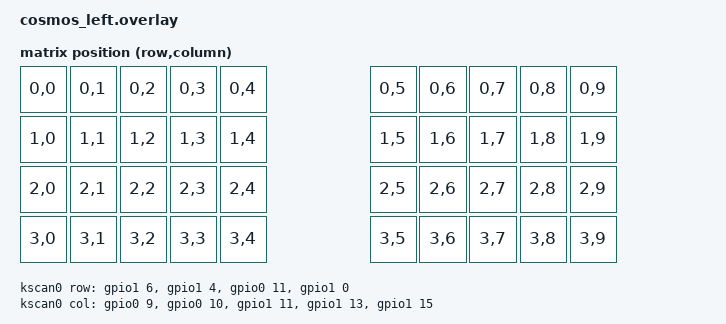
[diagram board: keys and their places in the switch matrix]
#include "cosmos-layouts.dtsi"
#include <input/processors.dtsi>
#include <dt-bindings/zmk/matrix_transform.h>

/ {
	chosen {
		zmk,physical-layout = &physical_layout0;
		zmk,kscan = &kscan0;
	};

	default_transform: keymap_transform_0 {
        compatible = "zmk,matrix-transform";
        columns = <10>;
        rows = <4>;

        map = <
        RC(0,0) RC(0,1) RC(0,2) RC(0,3) RC(0,4)                    RC(0,5) RC(0,6) RC(0,7) RC(0,8) RC(0,9)
        RC(1,0) RC(1,1) RC(1,2) RC(1,3) RC(1,4)                    RC(1,5) RC(1,6) RC(1,7) RC(1,8) RC(1,9)
        RC(2,0) RC(2,1) RC(2,2) RC(2,3) RC(2,4)                    RC(2,5) RC(2,6) RC(2,7) RC(2,8) RC(2,9)
                RC(3,0) RC(3,1) RC(3,2) RC(3,3) RC(3,4)    RC(3,5) RC(3,6) RC(3,7) RC(3,8) RC(3,9)
        >;
    };

	kscan0: kscan {
		compatible = "zmk,kscan-gpio-matrix";
		wakeup-source;
	};
};

&kscan0 {
	diode-direction = "col2row";
		
	col-gpios
		= <&gpio0  9 (GPIO_ACTIVE_HIGH)> // col_0_left P0.09
		, <&gpio0 10 (GPIO_ACTIVE_HIGH)> // col_1_left P0.10
		, <&gpio1 11 (GPIO_ACTIVE_HIGH)> // col_2_left P1.11
		, <&gpio1 13 (GPIO_ACTIVE_HIGH)> // col_3_left P1.13
		, <&gpio1 15 (GPIO_ACTIVE_HIGH)> // col_4_left P1.15
		;

	row-gpios
		= <&gpio1  6 (GPIO_ACTIVE_HIGH | GPIO_PULL_DOWN)> // row_0_left P1.06
		, <&gpio1  4 (GPIO_ACTIVE_HIGH | GPIO_PULL_DOWN)> // row_1_left P1.04
		, <&gpio0 11 (GPIO_ACTIVE_HIGH | GPIO_PULL_DOWN)> // row_2_left P0.11
		, <&gpio1  0 (GPIO_ACTIVE_HIGH | GPIO_PULL_DOWN)> // row_3_left P1.00
		;
};
